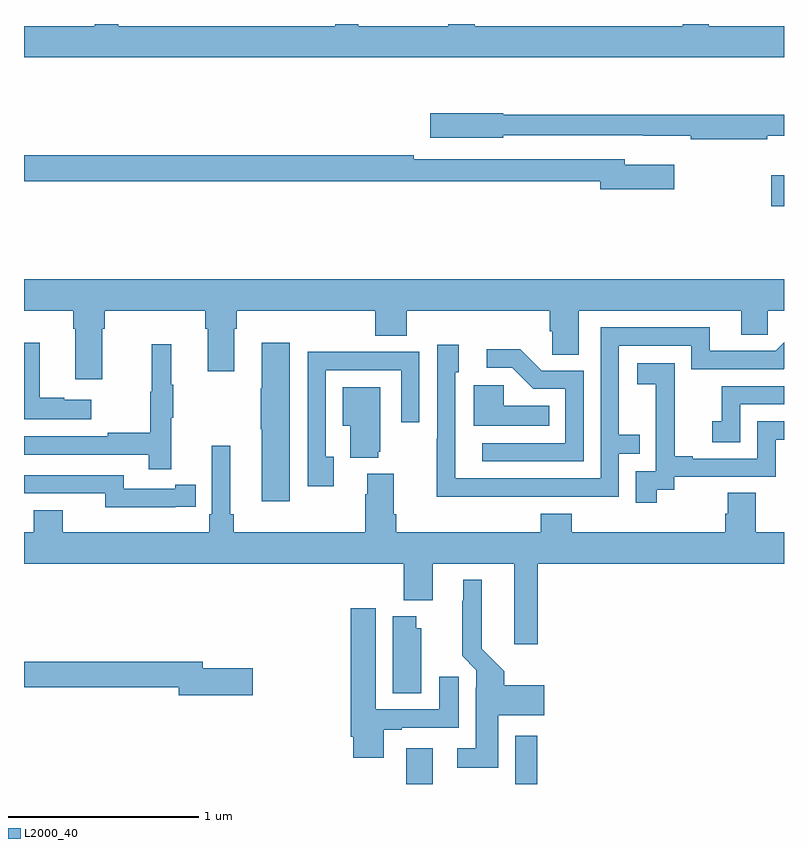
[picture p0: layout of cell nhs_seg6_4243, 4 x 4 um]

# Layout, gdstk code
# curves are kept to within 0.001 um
import gdstk
lib = gdstk.Library(unit=1e-6, precision=1e-09)
def R(c, l, rs):  # rectangles x0, y0, x1, y1
    for r in rs: c.add(gdstk.rectangle(r[:2], r[2:], *l))
def P(c, l, *ps):  # polygons
    for p in ps: c.add(gdstk.Polygon(p, *l))
L2000_40 = (2000, 40)

nhs_seg6_4243 = lib.new_cell('nhs_seg6_4243')
R(nhs_seg6_4243, L2000_40, [(363.011,955.5,363.151,955.687), (363.585,955.5,363.701,955.753), (364.932,958.54,365,958.705)])
P(nhs_seg6_4243, L2000_40, [(365,959.488),(364.604,959.488),(364.604,959.5),(364.468,959.5),(364.468,959.488),(363.373,959.488),(363.373,959.5),(363.233,959.5),(363.233,959.488),(362.758,959.488),(362.758,959.5),(362.637,959.5),(362.637,959.488),(361.495,959.488),(361.495,959.5),(361.373,959.5),(361.373,959.488),(361,959.488),(361,959.324),(365,959.324)],
  [(364.911,958.913),(365,958.913),(365,959.023),(363.522,959.023),(363.522,959.031),(363.138,959.031),(363.138,958.901),(363.522,958.901),(363.522,958.914),(364.258,958.914),(364.258,958.913),(364.51,958.913),(364.51,958.894),(364.911,958.894)],
  [(364.423,958.759),(364.162,958.759),(364.162,958.788),(363.05,958.788),(363.05,958.808),(361,958.808),(361,958.672),(364.034,958.672),(364.034,958.63),(364.423,958.63)],
  [(361,957.992),(361.259,957.992),(361.259,957.896),(361.271,957.896),(361.271,957.63),(361.411,957.63),(361.411,957.896),(361.424,957.896),(361.424,957.992),(361.955,957.992),(361.955,957.896),(361.967,957.896),(361.967,957.672),(362.107,957.672),(362.107,957.896),(362.12,957.896),(362.12,957.992),(362.849,957.992),(362.849,957.859),(363.014,957.859),(363.014,957.992),(363.767,957.992),(363.767,957.883),(363.78,957.883),(363.78,957.76),(363.919,957.76),(363.919,957.992),(364.775,957.992),(364.775,957.865),(364.914,957.865),(364.914,957.992),(365,957.992),(365,958.156),(361,958.156)],
  [(363.635,957.012),(364.131,957.012),(364.131,957.237),(364.241,957.237),(364.241,957.338),(364.131,957.338),(364.131,957.807),(364.512,957.807),(364.512,957.684),(364.998,957.684),(365,957.686),(365,957.824),(364.956,957.78),(364.609,957.78),(364.609,957.903),(364.035,957.903),(364.035,957.108),(363.271,957.108),(363.27,957.666),(363.289,957.666),(363.289,957.811),(363.174,957.811),(363.174,957.317),(363.172,957.317),(363.172,957.011)],
  [(361.354,957.523),(361.211,957.523),(361.211,957.533),(361.084,957.533),(361.084,957.823),(361,957.823),(361,957.419),(361.354,957.419)],
  [(362.398,957.823),(362.252,957.823),(362.252,957.584),(362.245,957.584),(362.245,957.367),(362.252,957.367),(362.252,956.988),(362.398,956.988)],
  [(361.775,957.427),(361.786,957.427),(361.786,957.601),(361.775,957.601),(361.775,957.814),(361.672,957.814),(361.672,957.564),(361.665,957.564),(361.665,957.35),(361.441,957.35),(361.441,957.33),(361,957.33),(361,957.234),(361.657,957.234),(361.657,957.156),(361.775,957.156)],
  [(363.945,957.675),(363.726,957.675),(363.613,957.788),(363.435,957.788),(363.435,957.69),(363.569,957.69),(363.68,957.579),(363.849,957.579),(363.849,957.294),(363.411,957.294),(363.411,957.198),(363.945,957.198)],
  [(362.629,957.222),(362.589,957.222),(362.589,957.678),(362.985,957.678),(362.985,957.405),(363.081,957.405),(363.081,957.774),(362.765,957.774),(362.765,957.776),(362.493,957.776),(362.493,957.066),(362.629,957.066)],
  [(364.33,957.049),(364.422,957.049),(364.422,957.117),(364.956,957.117),(364.956,957.312),(365,957.312),(365,957.408),(364.86,957.408),(364.86,957.213),(364.519,957.213),(364.519,957.226),(364.424,957.226),(364.424,957.509),(364.425,957.509),(364.425,957.715),(364.227,957.715),(364.227,957.605),(364.325,957.605),(364.325,957.377),(364.326,957.377),(364.326,957.147),(364.221,957.147),(364.221,956.979),(364.33,956.979)],
  [(363.764,957.49),(363.525,957.49),(363.525,957.598),(363.368,957.598),(363.368,957.386),(363.764,957.386)],
  [(364.77,957.498),(365,957.498),(365,957.594),(364.672,957.594),(364.672,957.409),(364.623,957.409),(364.623,957.3),(364.77,957.3)],
  [(362.864,957.249),(362.875,957.249),(362.875,957.589),(362.678,957.589),(362.678,957.386),(362.717,957.386),(362.717,957.218),(362.864,957.218)],
  [(363.704,956.66),(365,956.66),(365,956.824),(364.851,956.824),(364.851,957.032),(364.703,957.032),(364.703,956.922),(364.691,956.922),(364.691,956.824),(363.884,956.824),(363.884,956.923),(363.719,956.923),(363.719,956.824),(362.96,956.824),(362.96,956.92),(362.947,956.92),(362.947,957.133),(362.807,957.133),(362.807,957.026),(362.795,957.026),(362.795,956.824),(362.105,956.824),(362.105,956.92),(362.086,956.92),(362.086,957.28),(361.989,957.28),(361.989,956.92),(361.976,956.92),(361.976,956.824),(361.204,956.824),(361.204,956.941),(361.052,956.941),(361.052,956.824),(361,956.824),(361,956.66),(362.999,956.66),(362.999,956.468),(363.151,956.468),(363.151,956.66),(363.581,956.66),(363.581,956.235),(363.704,956.235)],
  [(361.796,956.958),(361.904,956.958),(361.904,957.074),(361.796,957.074),(361.796,957.054),(361.524,957.054),(361.524,957.126),(361,957.126),(361,957.03),(361.428,957.03),(361.428,956.957),(361.796,956.957)],
  [(363.496,955.862),(363.739,955.862),(363.739,956.02),(363.527,956.02),(363.527,956.094),(363.409,956.212),(363.409,956.575),(363.311,956.575),(363.311,956.465),(363.307,956.465),(363.307,956.174),(363.381,956.1),(363.381,956.006),(363.377,956.006),(363.377,955.687),(363.279,955.687),(363.279,955.586),(363.496,955.586)],
  [(362.893,955.785),(362.989,955.785),(362.989,955.797),(363.289,955.797),(363.289,956.065),(363.185,956.065),(363.185,955.893),(362.851,955.893),(362.851,956.425),(362.72,956.425),(362.72,955.75),(362.732,955.75),(362.732,955.638),(362.893,955.638)],
  [(363.091,956.319),(363.064,956.319),(363.064,956.383),(362.942,956.383),(362.942,955.978),(363.091,955.978)],
  [(362.203,956.108),(361.942,956.108),(361.942,956.144),(361,956.144),(361,956.008),(361.814,956.008),(361.814,955.966),(362.203,955.966)])

lib.write_gds('nhs_seg6_4243.gds')
